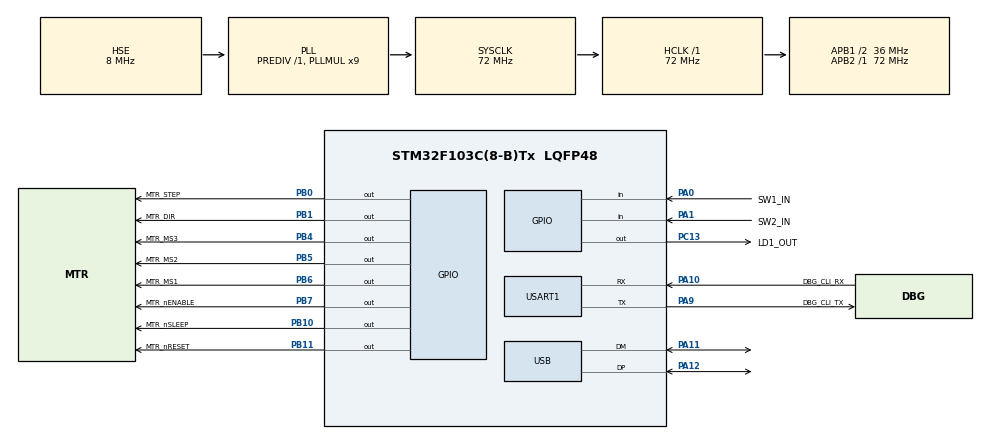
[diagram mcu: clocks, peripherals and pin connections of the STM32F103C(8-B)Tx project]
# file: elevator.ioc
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Dma.Request0=USART1_RX
Dma.Request1=USART1_TX
Dma.USART1_RX.0.Direction=DMA_PERIPH_TO_MEMORY
Dma.USART1_RX.0.Instance=DMA1_Channel5
Dma.USART1_RX.0.MemDataAlignment=DMA_MDATAALIGN_BYTE
Dma.USART1_RX.0.MemInc=DMA_MINC_ENABLE
Dma.USART1_RX.0.Mode=DMA_NORMAL
Dma.USART1_RX.0.PeriphDataAlignment=DMA_PDATAALIGN_BYTE
Dma.USART1_RX.0.PeriphInc=DMA_PINC_DISABLE
Dma.USART1_RX.0.Priority=DMA_PRIORITY_LOW
Dma.USART1_TX.1.Direction=DMA_MEMORY_TO_PERIPH
Dma.USART1_TX.1.Instance=DMA1_Channel4
Dma.USART1_TX.1.MemDataAlignment=DMA_MDATAALIGN_BYTE
Dma.USART1_TX.1.MemInc=DMA_MINC_ENABLE
Dma.USART1_TX.1.Mode=DMA_NORMAL
Dma.USART1_TX.1.PeriphDataAlignment=DMA_PDATAALIGN_BYTE
Dma.USART1_TX.1.PeriphInc=DMA_PINC_DISABLE
Dma.USART1_TX.1.Priority=DMA_PRIORITY_LOW
Mcu.Family=STM32F1
Mcu.Name=STM32F103C(8-B)Tx
Mcu.Package=LQFP48
NVIC.DMA1_Channel4_IRQn=true\:0\:0\:false\:false\:true\:false
NVIC.DMA1_Channel5_IRQn=true\:0\:0\:false\:false\:true\:false
NVIC.PriorityGroup=NVIC_PRIORITYGROUP_4
NVIC.TIM3_IRQn=true\:0\:0\:false\:false\:true\:true
NVIC.USB_LP_CAN1_RX0_IRQn=true\:0\:0\:false\:false\:true\:false
PA0-WKUP.GPIO_Label=SW1_IN
PA0-WKUP.Signal=GPIO_Input
PA1.GPIO_Label=SW2_IN
PA1.Signal=GPIO_Input
PA10.GPIO_Label=DBG_CLI_RX
PA10.Mode=Asynchronous
PA10.Signal=USART1_RX
PA11.Mode=Device
PA11.Signal=USB_DM
PA12.Mode=Device
PA12.Signal=USB_DP
PA13.Mode=Trace_Asynchronous_SW
PA13.Signal=SYS_JTMS-SWDIO
PA14.Mode=Trace_Asynchronous_SW
PA14.Signal=SYS_JTCK-SWCLK
PA9.GPIO_Label=DBG_CLI_TX
PA9.Mode=Asynchronous
PA9.Signal=USART1_TX
PB0.GPIO_Label=MTR_STEP
PB0.Signal=GPIO_Output
PB1.GPIO_Label=MTR_DIR
PB1.Signal=GPIO_Output
PB10.GPIO_Label=MTR_nSLEEP
PB10.Signal=GPIO_Output
PB11.GPIO_Label=MTR_nRESET
PB11.Signal=GPIO_Output
PB3.Mode=Trace_Asynchronous_SW
PB3.Signal=SYS_JTDO-TRACESWO
PB4.GPIO_Label=MTR_MS3
PB4.Signal=GPIO_Output
PB5.GPIO_Label=MTR_MS2
PB5.Signal=GPIO_Output
PB6.GPIO_Label=MTR_MS1
PB6.Signal=GPIO_Output
PB7.GPIO_Label=MTR_nENABLE
PB7.PinState=GPIO_PIN_SET
PB7.Signal=GPIO_Output
PC13-TAMPER-RTC.GPIO_Label=LD1_OUT
PC13-TAMPER-RTC.PinState=GPIO_PIN_SET
PC13-TAMPER-RTC.Signal=GPIO_Output
PD0-OSC_IN.Mode=HSE-External-Oscillator
PD0-OSC_IN.Signal=RCC_OSC_IN
PD1-OSC_OUT.Mode=HSE-External-Oscillator
PD1-OSC_OUT.Signal=RCC_OSC_OUT
ProjectManager.HeapSize=0x200
ProjectManager.StackSize=0x400
ProjectManager.TargetToolchain=TrueSTUDIO
RCC.AHBFreq_Value=72000000
RCC.APB1CLKDivider=RCC_HCLK_DIV2
RCC.APB1Freq_Value=36000000
RCC.APB1TimFreq_Value=72000000
RCC.APB2Freq_Value=72000000
RCC.APB2TimFreq_Value=72000000
RCC.HCLKFreq_Value=72000000
RCC.PLLMUL=RCC_PLL_MUL9
RCC.PLLSourceVirtual=RCC_PLLSOURCE_HSE
RCC.SYSCLKFreq_VALUE=72000000
RCC.SYSCLKSource=RCC_SYSCLKSOURCE_PLLCLK
RCC.USBFreq_Value=48000000
RCC.USBPrescaler=RCC_USBCLKSOURCE_PLL_DIV1_5
TIM3.AutoReloadPreload=TIM_AUTORELOAD_PRELOAD_ENABLE
TIM3.ClockDivision=TIM_CLOCKDIVISION_DIV1
TIM3.Period=65535
TIM3.Prescaler=0
USART1.VirtualMode=VM_ASYNC
USB_DEVICE.CLASS_NAME_FS=CDC
USB_DEVICE.VirtualMode=Cdc
USB_DEVICE.VirtualModeFS=Cdc_FS
VP_TIM3_VS_ClockSourceINT.Mode=Internal
VP_TIM3_VS_ClockSourceITR.Mode=TriggerSource_ITR3
VP_TIM3_VS_ControllerModeTrigger.Mode=Trigger Mode
VP_USB_DEVICE_VS_USB_DEVICE_CDC_FS.Mode=CDC_FS
board=elevator

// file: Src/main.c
/**
  ******************************************************************************
  * @file           : main.c
  * @brief          : Main program body
  ******************************************************************************
  * This notice applies to any and all portions of this file
  * that are not between comment pairs USER CODE BEGIN and
  * USER CODE END. Other portions of this file, whether
  * inserted by the user or by software development tools
  * are owned by their respective copyright owners.
  *
  * Copyright (c) 2018 STMicroelectronics International N.V.
  * All rights reserved.
  *
  * Redistribution and use in source and binary forms, with or without
  * modification, are permitted, provided that the following conditions are met:
  *
  * 1. Redistribution of source code must retain the above copyright notice,
  *    this list of conditions and the following disclaimer.
  * 2. Redistributions in binary form must reproduce the above copyright notice,
  *    this list of conditions and the following disclaimer in the documentation
  *    and/or other materials provided with the distribution.
  * 3. Neither the name of STMicroelectronics nor the names of other
  *    contributors to this software may be used to endorse or promote products
  *    derived from this software without specific written permission.
  * 4. This software, including modifications and/or derivative works of this
  *    software, must execute solely and exclusively on microcontroller or
  *    microprocessor devices manufactured by or for STMicroelectronics.
  * 5. Redistribution and use of this software other than as permitted under
  *    this license is void and will automatically terminate your rights under
  *    this license.
  *
  * THIS SOFTWARE IS PROVIDED BY STMICROELECTRONICS AND CONTRIBUTORS "AS IS"
  * AND ANY EXPRESS, IMPLIED OR STATUTORY WARRANTIES, INCLUDING, BUT NOT
  * LIMITED TO, THE IMPLIED WARRANTIES OF MERCHANTABILITY, FITNESS FOR A
  * PARTICULAR PURPOSE AND NON-INFRINGEMENT OF THIRD PARTY INTELLECTUAL PROPERTY
  * RIGHTS ARE DISCLAIMED TO THE FULLEST EXTENT PERMITTED BY LAW. IN NO EVENT
  * SHALL STMICROELECTRONICS OR CONTRIBUTORS BE LIABLE FOR ANY DIRECT, INDIRECT,
  * INCIDENTAL, SPECIAL, EXEMPLARY, OR CONSEQUENTIAL DAMAGES (INCLUDING, BUT NOT
  * LIMITED TO, PROCUREMENT OF SUBSTITUTE GOODS OR SERVICES; LOSS OF USE, DATA,
  * OR PROFITS; OR BUSINESS INTERRUPTION) HOWEVER CAUSED AND ON ANY THEORY OF
  * LIABILITY, WHETHER IN CONTRACT, STRICT LIABILITY, OR TORT (INCLUDING
  * NEGLIGENCE OR OTHERWISE) ARISING IN ANY WAY OUT OF THE USE OF THIS SOFTWARE,
  * EVEN IF ADVISED OF THE POSSIBILITY OF SUCH DAMAGE.
  *
  ******************************************************************************
  */
#include "main.h"
#include "stm32f1xx_hal.h"
#include "dma.h"
#include "tim.h"
#include "usart.h"
#include "usb_device.h"
#include "gpio.h"

/* USER CODE BEGIN Includes */
#include "app.h"
#include "stepper.h"
#include "btn.h"
#include "eeprom.h"
#include "mlog.h"
/* USER CODE END Includes */

/* USER CODE BEGIN PV */
/* Private variables ---------------------------------------------------------*/

/* USER CODE END PV */

void SystemClock_Config(void);

/* USER CODE BEGIN PFP */
/* Private function prototypes -----------------------------------------------*/

/* USER CODE END PFP */

int main(void)
{

  /* MCU Configuration----------------------------------------------------------*/

  /* Reset of all peripherals, Initializes the Flash interface and the Systick. */
  HAL_Init();

  /* Configure the system clock */
  SystemClock_Config();

  /* USER CODE BEGIN SysInit */
  mInfo("elevator init...\n");
  /* USER CODE END SysInit */

  /* Initialize all configured peripherals */
  MX_GPIO_Init();
  MX_DMA_Init();
  MX_TIM3_Init();
  MX_USART1_UART_Init();
  MX_USB_DEVICE_Init();
  /* USER CODE BEGIN 2 */
  btn_init();
  ee_init();
  stp_init();
  app_init(); /* This must be the last init function call */
  /* USER CODE END 2 */

  /* Infinite loop */
  /* USER CODE BEGIN WHILE */
  while (1)
  {
	  /* Run the application handler */
	  app_handler();

	  /* Stepper motor handler */
	  stp_handler();
  /* USER CODE END WHILE */

  /* USER CODE BEGIN 3 */

  }

  stp_deinit();
  /* USER CODE END 3 */

}

void SystemClock_Config(void)
{

  RCC_OscInitTypeDef RCC_OscInitStruct;
  RCC_ClkInitTypeDef RCC_ClkInitStruct;
  RCC_PeriphCLKInitTypeDef PeriphClkInit;

    /**Initializes the CPU, AHB and APB busses clocks
    */
  RCC_OscInitStruct.OscillatorType = RCC_OSCILLATORTYPE_HSE;
  RCC_OscInitStruct.HSEState = RCC_HSE_ON;
  RCC_OscInitStruct.HSEPredivValue = RCC_HSE_PREDIV_DIV1;
  RCC_OscInitStruct.HSIState = RCC_HSI_ON;
  RCC_OscInitStruct.PLL.PLLState = RCC_PLL_ON;
  RCC_OscInitStruct.PLL.PLLSource = RCC_PLLSOURCE_HSE;
  RCC_OscInitStruct.PLL.PLLMUL = RCC_PLL_MUL9;
  if (HAL_RCC_OscConfig(&RCC_OscInitStruct) != HAL_OK)
  {
    _Error_Handler(__FILE__, __LINE__);
  }

    /**Initializes the CPU, AHB and APB busses clocks
    */
  RCC_ClkInitStruct.ClockType = RCC_CLOCKTYPE_HCLK|RCC_CLOCKTYPE_SYSCLK
                              |RCC_CLOCKTYPE_PCLK1|RCC_CLOCKTYPE_PCLK2;
  RCC_ClkInitStruct.SYSCLKSource = RCC_SYSCLKSOURCE_PLLCLK;
  RCC_ClkInitStruct.AHBCLKDivider = RCC_SYSCLK_DIV1;
  RCC_ClkInitStruct.APB1CLKDivider = RCC_HCLK_DIV2;
  RCC_ClkInitStruct.APB2CLKDivider = RCC_HCLK_DIV1;

  if (HAL_RCC_ClockConfig(&RCC_ClkInitStruct, FLASH_LATENCY_2) != HAL_OK)
  {
    _Error_Handler(__FILE__, __LINE__);
  }

  PeriphClkInit.PeriphClockSelection = RCC_PERIPHCLK_USB;
  PeriphClkInit.UsbClockSelection = RCC_USBCLKSOURCE_PLL_DIV1_5;
  if (HAL_RCCEx_PeriphCLKConfig(&PeriphClkInit) != HAL_OK)
  {
    _Error_Handler(__FILE__, __LINE__);
  }

    /**Configure the Systick interrupt time
    */
  HAL_SYSTICK_Config(HAL_RCC_GetHCLKFreq()/1000);

    /**Configure the Systick
    */
  HAL_SYSTICK_CLKSourceConfig(SYSTICK_CLKSOURCE_HCLK);

  /* SysTick_IRQn interrupt configuration */
  HAL_NVIC_SetPriority(SysTick_IRQn, 0, 0);
}

/* USER CODE BEGIN 4 */
/**
 * @brief Trigger (re)enumeration of USB
 *
 * Pull down the USB DP pin to let think of master that device have been disconnect and
 * force new device enumeration when calling MX_USB_DEVICE_Init().
 */
void USB_DEVICE_MasterHardReset(void)
{
    GPIO_InitTypeDef GPIO_InitStruct;
    GPIO_InitStruct.Pin = USB_DP_Pin;
    GPIO_InitStruct.Mode = GPIO_MODE_OUTPUT_PP;
    GPIO_InitStruct.Pull = GPIO_PULLDOWN;
    GPIO_InitStruct.Speed = GPIO_SPEED_FREQ_HIGH;
    HAL_GPIO_Init(USB_DP_GPIO_Port, &GPIO_InitStruct);
    HAL_GPIO_WritePin(USB_DP_GPIO_Port,USB_DP_Pin,0);
    HAL_Delay(USB_DEVICE_MASTER_HARD_RESET_DELAY);
}
/* USER CODE END 4 */

void _Error_Handler(char *file, int line)
{
  while(1)
  {
  }
}

/************************ (C) COPYRIGHT STMicroelectronics *****END OF FILE****/
